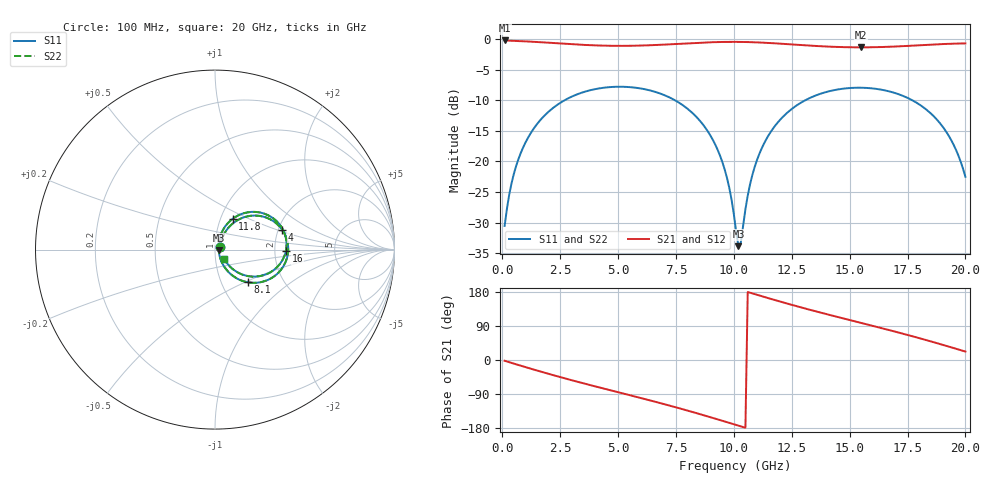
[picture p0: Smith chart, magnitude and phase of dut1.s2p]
! Touchstone file exported from HFSS 2026.1.0
!  File:  C:/ffzhzh/LocalFiles/Ansys_Project_Files/temp_train_TSV_RDL_1_1782959881_45748.aedt
!  Generated:  10:54:14 AM Jul  2, 2026
!  Design:  TSV_RDL
!  Project:  temp_train_TSV_RDL_1_1782959881_45748
! Variables:
!  h_bsmrdl = 4.31um
!  h_ox = 20um
!  h_rdl = 5um
!  h_sub = 89.41um
!  h_tmrdl = 2.63um
!  h_tsv = 89.41um
!  h_via = 3um
!  l_bsmrdl = 750.19um
!  l_sub = 5637.83um
!  l_tmrdl = 710.47um
!  m_sub = 200um
!  pitch = 42.94um
!  r_tsv = 9.83um
!  s_tmrdl = 10um
!  w_bsmrdl = 24.77um
!  w_sub = 500um
!  w_tmrdl = 23.69um
!  x_tsv_center1 = 722.315um
!  x_tsv_center2 = 1497.275um
!  x_tsv_center3 = 2231.435um
!  x_tsv_center4 = 3006.395um
!  x_tsv_center5 = 3740.555um
!  x_tsv_center6 = 4515.515um
# GHz S MA R 50.000000
! Terminal data exported
! Port[1] = TM_RDL1_1_T1
! Port[2] = TM_RDL5_1_T1
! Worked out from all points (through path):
!   200 points, 100 MHz to 20 GHz, reference 50 ohm
!   highest |S21| = -0.22 dB at 100 MHz (marker M1); lowest = -1.3 dB at 15.5 GHz (marker M2)
!   group delay of S21, straight-line fit = 46.6 ps
!   lowest |S11| = -33.9 dB at 10.2 GHz (marker M3), VSWR 1.04, Z = 52 - j0.325 ohm
!   |S11| at or under -10 dB: start of sweep to 2.688 GHz; 7.457 GHz to 13.08 GHz (5.625 GHz wide, 54.8 % of centre); 17.71 GHz to end of sweep
!   |S22| runs from -33.7 to -7.8 dB; largest |S21 - S12| = 1.8e-14
!   S11 on the Smith chart (normalised r, x): 100 MHz: 1.05, +0.03; 4 GHz: 2.09, +0.55; 8.1 GHz: 1.34, -0.52; 11.8 GHz: 1.14, +0.41; 16 GHz: 2.31, -0.04; 20 GHz: 1.10, -0.12
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0.1  0.02968 31.1  0.975 -2.0  0.975 -2.0  0.02968 31.1
! Gamma 0 0 0 0
! Port Impedance 50 0 50 0
0.5  0.07929 58.6  0.9679 -9.6  0.9679 -9.6  0.07929 58.6
1.2  0.167 56.6  0.9542 -22.4  0.9542 -22.4  0.167 56.6
2.2  0.2745 43.3  0.929 -40.0  0.929 -40.0  0.2744 43.4
3.5  0.3684 24.0  0.8975 -61.5  0.8975 -61.5  0.3684 24.1
4  0.3897 16.6  0.8889 -69.4  0.8889 -69.4  0.3897 16.7
6.8  0.3601 -24.7  0.898 -113.3  0.898 -113.3  0.3601 -24.7
8.1  0.26 -44.6  0.9257 -135.2  0.9257 -135.2  0.2599 -44.6
9.4  0.1119 -61.4  0.9469 -158.5  0.9469 -158.5  0.1119 -61.2
9.8  0.06121 -59.9  0.9492 -165.8  0.9492 -165.8  0.06131 -59.5
10.1  0.0267 -36.3  0.9492 -171.4  0.9492 -171.4  0.02701 -35.6
10.2  0.02029 -8.9  0.9488 -173.2  0.9488 -173.2  0.02074 -8.4
10.3  0.02166 26.4  0.9483 -175.1  0.9483 -175.1  0.02211 26.0
10.9  0.09015 68.9  0.9419 173.9  0.9419 173.9  0.09031 68.6
11.8  0.1977 60.2  0.9233 157.7  0.9233 157.7  0.1978 60.1
13.4  0.3379 36.6  0.8821 130.6  0.8821 130.6  0.3379 36.5
15.5  0.4005 6.1  0.8563 97.8  0.8563 97.8  0.4005 6.0
16  0.3951 -1.0  0.8581 90.1  0.8581 90.1  0.3951 -1.1
16.7  0.3743 -11.1  0.8655 79.1  0.8655 79.1  0.3742 -11.2
18.8  0.2165 -41.1  0.907 44.0  0.907 44.0  0.2163 -41.2
19.5  0.1358 -48.2  0.9182 31.4  0.9182 31.4  0.1357 -48.3
20  0.07485 -45.5  0.9225 22.3  0.9225 22.3  0.07459 -45.8
